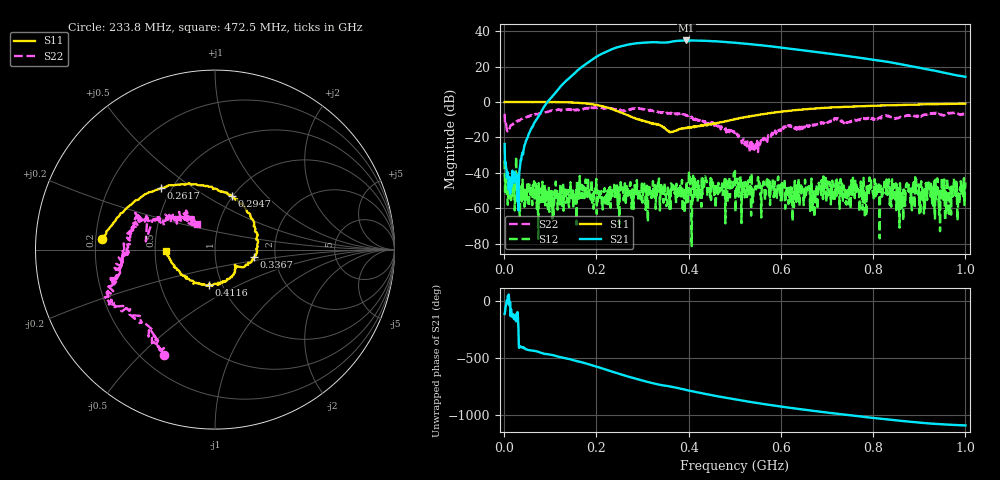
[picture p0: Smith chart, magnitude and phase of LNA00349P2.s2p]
! Created with skrf 1.9.0 (http://scikit-rf.org).
# Hz S RI R 50.0
!freq ReS11 ImS11 ReS21 ImS21 ReS12 ImS12 ReS22 ImS22
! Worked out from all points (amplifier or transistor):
!   1001 points, 1 MHz to 1 GHz, reference 50 ohm
!   highest |S21| = 34.8 dB at 394.6 MHz (marker M1)
!   |S21| within 3 dB of that: 257.5 MHz to 566.2 MHz (308.7 MHz wide, 75 % of centre) (the widest 1 of 2)
!   unconditionally stable (mu >= 1): 8.56 MHz to 67.5 MHz; 197.6 MHz to 287.6 MHz; 287.8 MHz to end of sweep (the widest 3 of 30)
!   at 166.8 MHz: K = 1.71, MAG = 30.1 dB, |S12| = -50.5 dB
!   at 500.5 MHz: K = 1.05, MAG = 34.9 dB, |S12| = -39.1 dB
!   at 1 GHz: K = 3.08, MAG = 22.1 dB, |S12| = -45.5 dB
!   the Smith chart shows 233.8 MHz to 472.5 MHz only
!   S11 on the Smith chart (normalised r, x): 233.8 MHz: 0.22, +0.04; 261.7 MHz: 0.44, +0.38; 294.7 MHz: 0.99, +0.66; 336.7 MHz: 1.55, -0.13; 411.6 MHz: 0.87, -0.36; 472.5 MHz: 0.57, -0.01
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1000000  0.9969 0.00419  -0.0267 -0.059  -0.0217 -0.00451  0.3392 0.3148
1.08892e8  0.5058 -0.8547  -0.8093 -1.471  0.00109 0.00161  0.4208 -0.3802
1.67833e8  -0.2626 -0.8907  -9.649 -0.4362  -0.00039 -0.00192  0.0333 -0.6438
2.06794e8  -0.6802 -0.4051  -15.33 14.8  -0.00169 0.000537  -0.177 -0.6715
2.33767e8  -0.6305 0.0592  -5.68 30.58  -0.00267 -0.00045  -0.2851 -0.589
2.61739e8  -0.3028 0.3423  16.3 36.16  -0.00481 0.00148  -0.4104 -0.372
2.94706e8  0.0925 0.2994  41.2 21.67  -0.0024 0.00142  -0.5969 -0.2294
3.13687e8  0.2136 0.1607  48 5.938  -0.00233 0.00302  -0.5498 -0.1679
3.34666e8  0.229 -0.0255  47.2 -10.6  -0.00282 0.00233  -0.5195 -0.0428
3.36664e8  0.2187 -0.0394  46.8 -12.12  -0.00292 0.00154  -0.5155 -0.0333
3.69631e8  0.1164 -0.0965  41.61 -31.81  0.000491 0.00254  -0.46 0.1258
3.94606e8  0.0571 -0.1745  26.92 -47.72  0.000552 0.00113  -0.3896 0.1551
4.11589e8  -0.0319 -0.1972  14.17 -52.53  0.00541 0.00445  -0.2838 0.1338
4.4056e8  -0.1654 -0.1555  -8.075 -52.59  -0.00232 0.000706  -0.1471 0.1638
4.72528e8  -0.2713 -0.00739  -27.01 -42.23  0.00572 -0.000247  -0.1005 0.1449
5.005e8  -0.2972 0.1461  -37.97 -28.5  0.00268 0.0108  -0.068 0.0996
5.39461e8  -0.2038 0.3523  -41.54 -7.911  0.00131 0.000633  -0.0673 -0.019
5.85415e8  0.00182 0.5014  -34.73 10.99  -0.000732 -0.00222  -0.1111 -0.0663
6.67333e8  0.4049 0.5001  -12.48 23.5  -0.000468 -0.00258  -0.2153 -0.0635
7.53247e8  0.6857 0.2801  4.55 18.56  -0.00386 -0.00151  -0.292 -0.0228
8.34166e8  0.8025 0.00978  10.26 8.624  -0.00417 -0.005  -0.392 -0.0577
1e9  0.7254 -0.5323  5.061 -1.012  0.00443 -0.00293  -0.3794 0.286
